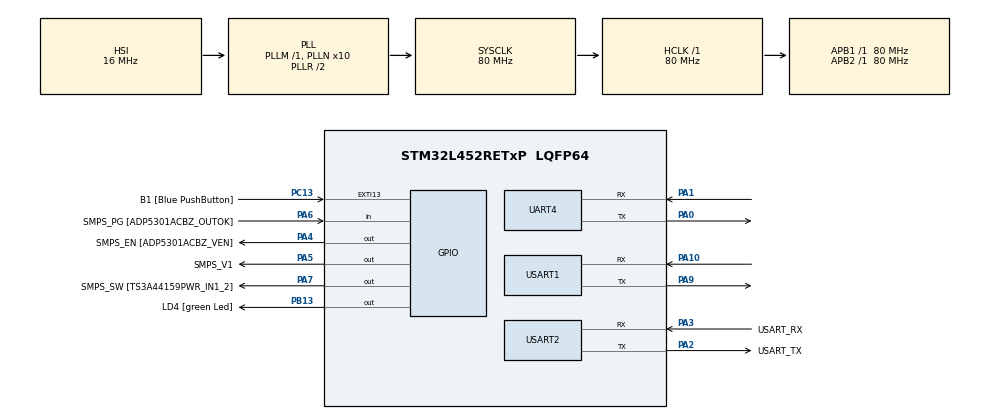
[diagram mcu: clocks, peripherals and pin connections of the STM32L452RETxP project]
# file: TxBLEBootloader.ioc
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Mcu.Family=STM32L4
Mcu.Name=STM32L452RETxP
Mcu.Package=LQFP64
NVIC.PriorityGroup=NVIC_PRIORITYGROUP_4
NVIC.UART4_IRQn=true\:0\:0\:false\:false\:true\:true\:true\:true
NVIC.USART1_IRQn=true\:0\:0\:false\:false\:true\:true\:true\:true
NVIC.USART2_IRQn=true\:0\:0\:false\:false\:true\:true\:true\:true
PA0.Mode=Asynchronous
PA0.Signal=UART4_TX
PA1.Mode=Asynchronous
PA1.Signal=UART4_RX
PA10.Mode=Asynchronous
PA10.Signal=USART1_RX
PA13\ (JTMS/SWDIO).GPIO_Label=TMS
PA13\ (JTMS/SWDIO).Mode=Serial_Wire
PA13\ (JTMS/SWDIO).Signal=SYS_JTMS-SWDIO
PA14\ (JTCK/SWCLK).GPIO_Label=TCK
PA14\ (JTCK/SWCLK).Mode=Serial_Wire
PA14\ (JTCK/SWCLK).Signal=SYS_JTCK-SWCLK
PA2.GPIO_Label=USART_TX
PA2.GPIO_Mode=GPIO_MODE_AF_PP
PA2.GPIO_PuPd=GPIO_NOPULL
PA2.GPIO_Speed=GPIO_SPEED_FREQ_VERY_HIGH
PA2.Mode=Asynchronous
PA2.Signal=USART2_TX
PA3.GPIO_Label=USART_RX
PA3.GPIO_Mode=GPIO_MODE_AF_PP
PA3.GPIO_PuPd=GPIO_NOPULL
PA3.GPIO_Speed=GPIO_SPEED_FREQ_VERY_HIGH
PA3.Mode=Asynchronous
PA3.Signal=USART2_RX
PA4.GPIO_Label=SMPS_EN [ADP5301ACBZ_VEN]
PA4.Signal=GPIO_Output
PA5.GPIO_Label=SMPS_V1
PA5.GPIO_ModeDefaultOutputPP=GPIO_MODE_OUTPUT_PP
PA5.GPIO_PuPd=GPIO_NOPULL
PA5.GPIO_Speed=GPIO_SPEED_FREQ_LOW
PA5.Signal=GPIO_Output
PA6.GPIO_Label=SMPS_PG [ADP5301ACBZ_OUTOK]
PA6.GPIO_PuPd=GPIO_PULLUP
PA6.Signal=GPIO_Input
PA7.GPIO_Label=SMPS_SW [TS3A44159PWR_IN1_2]
PA7.Signal=GPIO_Output
PA9.Mode=Asynchronous
PA9.Signal=USART1_TX
PB13.GPIO_Label=LD4 [green Led]
PB13.Signal=GPIO_Output
PB3\ (JTDO/TRACESWO).GPIO_Label=SWO
PB3\ (JTDO/TRACESWO).Signal=SYS_JTDO-SWO
PC13.GPIO_Label=B1 [Blue PushButton]
PC13.GPIO_ModeDefaultEXTI=GPIO_MODE_IT_FALLING
PC13.GPIO_PuPd=GPIO_NOPULL
PC13.Signal=GPXTI13
PC14-OSC32_IN\ (PC14).Mode=LSE-External-Oscillator
PC14-OSC32_IN\ (PC14).Signal=RCC_OSC32_IN
PC15-OSC32_OUT\ (PC15).Mode=LSE-External-Oscillator
PC15-OSC32_OUT\ (PC15).Signal=RCC_OSC32_OUT
PH0-OSC_IN\ (PH0).GPIO_Label=MCO
PH0-OSC_IN\ (PH0).Mode=HSE-External-Clock-Source
PH0-OSC_IN\ (PH0).Signal=RCC_OSC_IN
PH1-OSC_OUT\ (PH1).Signal=RCC_OSC_OUT
ProjectManager.HeapSize=0x200
ProjectManager.StackSize=0x400
ProjectManager.TargetToolchain=STM32CubeIDE
RCC.ADCFreq_Value=64000000
RCC.AHBFreq_Value=80000000
RCC.APB1Freq_Value=80000000
RCC.APB1TimFreq_Value=80000000
RCC.APB2Freq_Value=80000000
RCC.APB2TimFreq_Value=80000000
RCC.CortexFreq_Value=80000000
RCC.HCLKFreq_Value=80000000
RCC.HSE_VALUE=8000000
RCC.HSI48_VALUE=48000000
RCC.HSI_VALUE=16000000
RCC.MSI_VALUE=4000000
RCC.PLLN=10
RCC.PLLSourceVirtual=RCC_PLLSOURCE_HSI
RCC.PREFETCH_ENABLE=1
RCC.SYSCLKFreq_VALUE=80000000
RCC.SYSCLKSource=RCC_SYSCLKSOURCE_PLLCLK
RCC.USBFreq_Value=64000000
RCC.VCOOutputFreq_Value=160000000
USART1.VirtualMode-Asynchronous=VM_ASYNC
USART2.VirtualMode-Asynchronous=VM_ASYNC
board=NUCLEO-L452RE-P

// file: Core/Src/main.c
/* USER CODE BEGIN Header */
/**
  ******************************************************************************
  * @file           : main.c
  * @brief          : Main program body
  ******************************************************************************
  * @attention
  *
  * Copyright (c) 2023 STMicroelectronics.
  * All rights reserved.
  *
  * This software is licensed under terms that can be found in the LICENSE file
  * in the root directory of this software component.
  * If no LICENSE file comes with this software, it is provided AS-IS.
  *
  ******************************************************************************
  */
/* USER CODE END Header */
#include "main.h"

/* USER CODE BEGIN Includes */
#include <stdio.h>
#include <string.h>
#include "stm32l4xx_hal.h"
#include "crc32.h"
#define CBC 1
#include "aes.h"
/* USER CODE END Includes */

/* USER CODE BEGIN PM */
#define MAJOR 0		// BL Major version Number
#define MINOR 2		// BL Minor version Number
#define FW_SIZE 2400
#define FLASH_CONF_ADDRESS 0x08020000
#define FLASH_APP_ADDRESS 0x08030000

/* USER CODE END PM */

UART_HandleTypeDef huart4;
UART_HandleTypeDef huart1;
UART_HandleTypeDef huart2;

/* USER CODE BEGIN PV */
uint16_t c = 0;
const uint8_t BL_Version[2] = { MAJOR, MINOR };
uint8_t key[] = { 0x2b, 0x7e, 0x15, 0x16, 0x28, 0xae, 0xd2, 0xa6, 0xab, 0xf7, 0x15, 0x88, 0x09, 0xcf, 0x4f, 0x3c };
uint8_t iv[]  = { 0x00, 0x01, 0x02, 0x03, 0x04, 0x05, 0x06, 0x07, 0x08, 0x09, 0x0a, 0x0b, 0x0c, 0x0d, 0x0e, 0x0f };
struct AES_ctx ctx;
uint8_t *OTAData = (uint8_t *) 0x08030000;
uint8_t rx_Slavebuff[20];
uint8_t tx_buff4[20];
uint8_t buffCounter4;
uint8_t OTA_PACKET[71];
uint8_t configuration[8];
uint8_t PK_flag = 1;
/* USER CODE END PV */

void SystemClock_Config(void);
static void MX_GPIO_Init(void);
static void MX_USART2_UART_Init(void);
static void MX_UART4_Init(void);
static void MX_USART1_UART_Init(void);
/* USER CODE BEGIN PFP */
static void goto_application(void);
void OTA_Transmisstion_Routine(void);
static HAL_StatusTypeDef write_cfg_to_flash(uint8_t *ulldata, uint32_t data_len );

//////////////////// ENCRYPTION ////////
//static void phex(uint8_t* str);
//static int test_encrypt_cbc(void);
//static int test_decrypt_cbc(void);
/* USER CODE END PFP */

int main(void)
{

  /* MCU Configuration--------------------------------------------------------*/

  /* Reset of all peripherals, Initializes the Flash interface and the Systick. */
  HAL_Init();

  /* Configure the system clock */
  SystemClock_Config();

  /* Initialize all configured peripherals */
  MX_GPIO_Init();
  MX_USART2_UART_Init();
  MX_UART4_Init();
  MX_USART1_UART_Init();
  /* USER CODE BEGIN 2 */
  HAL_UART_Receive_IT(&huart4, rx_Slavebuff, 1);
  printf("Starting Bootloader(%d.%d)\r\n", BL_Version[0], BL_Version[1] );
  uint8_t * conf = (uint8_t *)FLASH_CONF_ADDRESS;
  memcpy(configuration, conf, 8);

  if (configuration[0] == 0xff || configuration[0] == 0xbb){
	  if (configuration[0] == 0xbb){
		  printf("PREVIOUS OTA DIDN'T COMPLETE \r\n");
	  }
	  goto_application();
  }
  printf("OTA STARTED\r\n");
  /* USER CODE END 2 */

  /* Infinite loop */
  while (1)
  {

    /* USER CODE BEGIN 3 */
	  OTA_Transmisstion_Routine();
  }
  /* USER CODE END 3 */
}

void SystemClock_Config(void)
{
  RCC_OscInitTypeDef RCC_OscInitStruct = {0};
  RCC_ClkInitTypeDef RCC_ClkInitStruct = {0};

  /** Configure the main internal regulator output voltage
  */
  if (HAL_PWREx_ControlVoltageScaling(PWR_REGULATOR_VOLTAGE_SCALE1) != HAL_OK)
  {
    Error_Handler();
  }

  /** Initializes the RCC Oscillators according to the specified parameters
  * in the RCC_OscInitTypeDef structure.
  */
  RCC_OscInitStruct.OscillatorType = RCC_OSCILLATORTYPE_HSI;
  RCC_OscInitStruct.HSIState = RCC_HSI_ON;
  RCC_OscInitStruct.HSICalibrationValue = RCC_HSICALIBRATION_DEFAULT;
  RCC_OscInitStruct.PLL.PLLState = RCC_PLL_ON;
  RCC_OscInitStruct.PLL.PLLSource = RCC_PLLSOURCE_HSI;
  RCC_OscInitStruct.PLL.PLLM = 1;
  RCC_OscInitStruct.PLL.PLLN = 10;
  RCC_OscInitStruct.PLL.PLLP = RCC_PLLP_DIV7;
  RCC_OscInitStruct.PLL.PLLQ = RCC_PLLQ_DIV2;
  RCC_OscInitStruct.PLL.PLLR = RCC_PLLR_DIV2;
  if (HAL_RCC_OscConfig(&RCC_OscInitStruct) != HAL_OK)
  {
    Error_Handler();
  }

  /** Initializes the CPU, AHB and APB buses clocks
  */
  RCC_ClkInitStruct.ClockType = RCC_CLOCKTYPE_HCLK|RCC_CLOCKTYPE_SYSCLK
                              |RCC_CLOCKTYPE_PCLK1|RCC_CLOCKTYPE_PCLK2;
  RCC_ClkInitStruct.SYSCLKSource = RCC_SYSCLKSOURCE_PLLCLK;
  RCC_ClkInitStruct.AHBCLKDivider = RCC_SYSCLK_DIV1;
  RCC_ClkInitStruct.APB1CLKDivider = RCC_HCLK_DIV1;
  RCC_ClkInitStruct.APB2CLKDivider = RCC_HCLK_DIV1;

  if (HAL_RCC_ClockConfig(&RCC_ClkInitStruct, FLASH_LATENCY_4) != HAL_OK)
  {
    Error_Handler();
  }
}

static void MX_UART4_Init(void)
{

  huart4.Instance = UART4;
  huart4.Init.BaudRate = 9600;
  huart4.Init.WordLength = UART_WORDLENGTH_8B;
  huart4.Init.StopBits = UART_STOPBITS_1;
  huart4.Init.Parity = UART_PARITY_NONE;
  huart4.Init.Mode = UART_MODE_TX_RX;
  huart4.Init.HwFlowCtl = UART_HWCONTROL_NONE;
  huart4.Init.OverSampling = UART_OVERSAMPLING_16;
  huart4.Init.OneBitSampling = UART_ONE_BIT_SAMPLE_DISABLE;
  huart4.AdvancedInit.AdvFeatureInit = UART_ADVFEATURE_NO_INIT;
  if (HAL_UART_Init(&huart4) != HAL_OK)
  {
    Error_Handler();
  }

}

static void MX_USART1_UART_Init(void)
{

  huart1.Instance = USART1;
  huart1.Init.BaudRate = 115200;
  huart1.Init.WordLength = UART_WORDLENGTH_8B;
  huart1.Init.StopBits = UART_STOPBITS_1;
  huart1.Init.Parity = UART_PARITY_NONE;
  huart1.Init.Mode = UART_MODE_TX_RX;
  huart1.Init.HwFlowCtl = UART_HWCONTROL_NONE;
  huart1.Init.OverSampling = UART_OVERSAMPLING_16;
  huart1.Init.OneBitSampling = UART_ONE_BIT_SAMPLE_DISABLE;
  huart1.AdvancedInit.AdvFeatureInit = UART_ADVFEATURE_NO_INIT;
  if (HAL_UART_Init(&huart1) != HAL_OK)
  {
    Error_Handler();
  }

}

static void MX_USART2_UART_Init(void)
{

  huart2.Instance = USART2;
  huart2.Init.BaudRate = 115200;
  huart2.Init.WordLength = UART_WORDLENGTH_8B;
  huart2.Init.StopBits = UART_STOPBITS_1;
  huart2.Init.Parity = UART_PARITY_NONE;
  huart2.Init.Mode = UART_MODE_TX_RX;
  huart2.Init.HwFlowCtl = UART_HWCONTROL_NONE;
  huart2.Init.OverSampling = UART_OVERSAMPLING_16;
  huart2.Init.OneBitSampling = UART_ONE_BIT_SAMPLE_DISABLE;
  huart2.AdvancedInit.AdvFeatureInit = UART_ADVFEATURE_NO_INIT;
  if (HAL_UART_Init(&huart2) != HAL_OK)
  {
    Error_Handler();
  }

}

static void MX_GPIO_Init(void)
{
  GPIO_InitTypeDef GPIO_InitStruct = {0};

  /* GPIO Ports Clock Enable */
  __HAL_RCC_GPIOC_CLK_ENABLE();
  __HAL_RCC_GPIOH_CLK_ENABLE();
  __HAL_RCC_GPIOA_CLK_ENABLE();
  __HAL_RCC_GPIOB_CLK_ENABLE();

  /*Configure GPIO pin Output Level */
  HAL_GPIO_WritePin(GPIOA, SMPS_EN_Pin|SMPS_V1_Pin|SMPS_SW_Pin, GPIO_PIN_RESET);

  /*Configure GPIO pin Output Level */
  HAL_GPIO_WritePin(LD4_GPIO_Port, LD4_Pin, GPIO_PIN_RESET);

  /*Configure GPIO pin : B1_Pin */
  GPIO_InitStruct.Pin = B1_Pin;
  GPIO_InitStruct.Mode = GPIO_MODE_IT_FALLING;
  GPIO_InitStruct.Pull = GPIO_NOPULL;
  HAL_GPIO_Init(B1_GPIO_Port, &GPIO_InitStruct);

  /*Configure GPIO pins : SMPS_EN_Pin SMPS_V1_Pin SMPS_SW_Pin */
  GPIO_InitStruct.Pin = SMPS_EN_Pin|SMPS_V1_Pin|SMPS_SW_Pin;
  GPIO_InitStruct.Mode = GPIO_MODE_OUTPUT_PP;
  GPIO_InitStruct.Pull = GPIO_NOPULL;
  GPIO_InitStruct.Speed = GPIO_SPEED_FREQ_LOW;
  HAL_GPIO_Init(GPIOA, &GPIO_InitStruct);

  /*Configure GPIO pin : SMPS_PG_Pin */
  GPIO_InitStruct.Pin = SMPS_PG_Pin;
  GPIO_InitStruct.Mode = GPIO_MODE_INPUT;
  GPIO_InitStruct.Pull = GPIO_PULLUP;
  HAL_GPIO_Init(SMPS_PG_GPIO_Port, &GPIO_InitStruct);

  /*Configure GPIO pin : LD4_Pin */
  GPIO_InitStruct.Pin = LD4_Pin;
  GPIO_InitStruct.Mode = GPIO_MODE_OUTPUT_PP;
  GPIO_InitStruct.Pull = GPIO_NOPULL;
  GPIO_InitStruct.Speed = GPIO_SPEED_FREQ_LOW;
  HAL_GPIO_Init(LD4_GPIO_Port, &GPIO_InitStruct);

}

/* USER CODE BEGIN 4 */
void HAL_UART_RxCpltCallback(UART_HandleTypeDef *huart)
{
	if (huart == &huart4){
		if (rx_Slavebuff[0] == '@'){
			PK_flag = 1;
			printf("%d Packet ACK \r\n", c-1);
		}
		else if (rx_Slavebuff[0] == '$'){
			printf("OTA Failed Due to CRC Mismatch %d \r\n", c-1);
		}
		HAL_UART_Receive_IT(&huart4, rx_Slavebuff, 1);
	}
}

void OTA_Transmisstion_Routine(void){
	if (PK_flag == 1){
		if (c < FW_SIZE){
		  memcpy(OTA_PACKET, OTAData,64);
		  AES_init_ctx_iv(&ctx, key, iv);
		  AES_CBC_encrypt_buffer(&ctx, OTA_PACKET, 64);
		  if (c==0){
			  printf("CRC calculation Started\r\n");
			  start(0);
		  }

		  update(OTA_PACKET, 64);
//		  printf("CRC Updated %lu \r\n", cal_crc);
		  memcpy(&OTA_PACKET[64], &c,2);
		  if (c == FW_SIZE-1)
		  {
			  OTA_PACKET[66] = 0xf2;
			  uint32_t cal_crc = finish();
			  memcpy(&OTA_PACKET[67], &cal_crc, 4);
		  }
		  else{
			  OTA_PACKET[66] = 0xff;
		  }
		  if (c==0){
			  uint8_t OTA_conf[8] = {0xBB, 0xBB, 0xBB, 0xBB, 0xBB, 0xBB, 0xBB, 0xBB};
			  write_cfg_to_flash(OTA_conf, sizeof(OTA_conf));
		  }
//		  memcpy(&OTA_PACKET[67], &cal_crc, 4);
		  HAL_UART_Transmit(&huart4, OTA_PACKET, 71, 100);
		  OTAData += 64;
		  printf("%d \r\n", c++);
		  PK_flag = 0;
		}
		else{
		  uint8_t OTA_conf[8] = {0xFF, 0xFF, 0xFF, 0xFF, 0xFF, 0xFF, 0xFF, 0xFF};
		  printf("OTA COMPLETED\r\n");
		  write_cfg_to_flash(OTA_conf, sizeof(OTA_conf));
		  goto_application();
		}
	}
}

static HAL_StatusTypeDef write_cfg_to_flash(uint8_t *ulldata, uint32_t data_len )
{
  HAL_StatusTypeDef ret;
  static uint32_t address = FLASH_CONF_ADDRESS; //0x08020000;

  do
  {
    ret = HAL_FLASH_Unlock();
    if( ret != HAL_OK )
    {
      break;
    }

    //Check if the FLASH_FLAG_BSY.
    FLASH_WaitForLastOperation(HAL_MAX_DELAY);

    if ( configuration[0] != 0xff){
		printf("Erasing the Config Flash memory...\r\n");
		//Erase the Flash
		FLASH_EraseInitTypeDef EraseInitStruct;
		uint32_t SectorError;

		EraseInitStruct.TypeErase     = FLASH_TYPEERASE_PAGES;
		EraseInitStruct.Banks     = FLASH_BANK_1;
		EraseInitStruct.Page        = 64; // 1 page = 2K
		EraseInitStruct.NbPages     = 2;

		ret = HAL_FLASHEx_Erase( &EraseInitStruct, &SectorError );
		if( ret != HAL_OK )
		{
		  printf("Flash erase Error\r\n");
		  break;
		}
    }

    for(uint32_t i = 0; i < data_len; i+=8)
    {
      ret = HAL_FLASH_Program( FLASH_TYPEPROGRAM_DOUBLEWORD,
                               (address),
							   *(uint64_t*)&ulldata[i]);

      address += 8;

      if( ret != HAL_OK )
      {
        printf("App Flash Write Error\r\n");
        break;
      }
    }

    if( ret != HAL_OK )
    {
      break;
    }

    ret = HAL_FLASH_Lock();
    if( ret != HAL_OK )
    {
      break;
    }

    //Check if the FLASH_FLAG_BSY.
    FLASH_WaitForLastOperation(HAL_MAX_DELAY);

  }while(0);

  return ret;
}

#ifdef __GNUC__
  /* With GCC, small printf (option LD Linker->Libraries->Small printf
     set to 'Yes') calls __io_putchar() */
int __io_putchar(int ch)
#else
int fputc(int ch, FILE *f)
#endif /* __GNUC__ */
{
  /* Place your implementation of fputc here */
  /* e.g. write a character to the UART3 and Loop until the end of transmission */
  HAL_UART_Transmit(&huart2, (uint8_t *)&ch, 1, HAL_MAX_DELAY);
  return ch;
}

static void goto_application(void)
{
  printf("Jumping to Application\r\n");
  void (*app_reset_handler)(void) = (void*)(*((volatile uint32_t*) (0x08030000 + 4)));
  //__set_MSP(*(volatile uint32_t*) 0x08040000);
  // Turn OFF the Green Led to tell the user that Bootloader is not running
  HAL_GPIO_WritePin(LD4_GPIO_Port, LD4_Pin, GPIO_PIN_RESET );    //Green LED OFF
  app_reset_handler();    //call the app reset handler
}
/* USER CODE END 4 */

void Error_Handler(void)
{
  __disable_irq();
  while (1)
  {
  }
}
